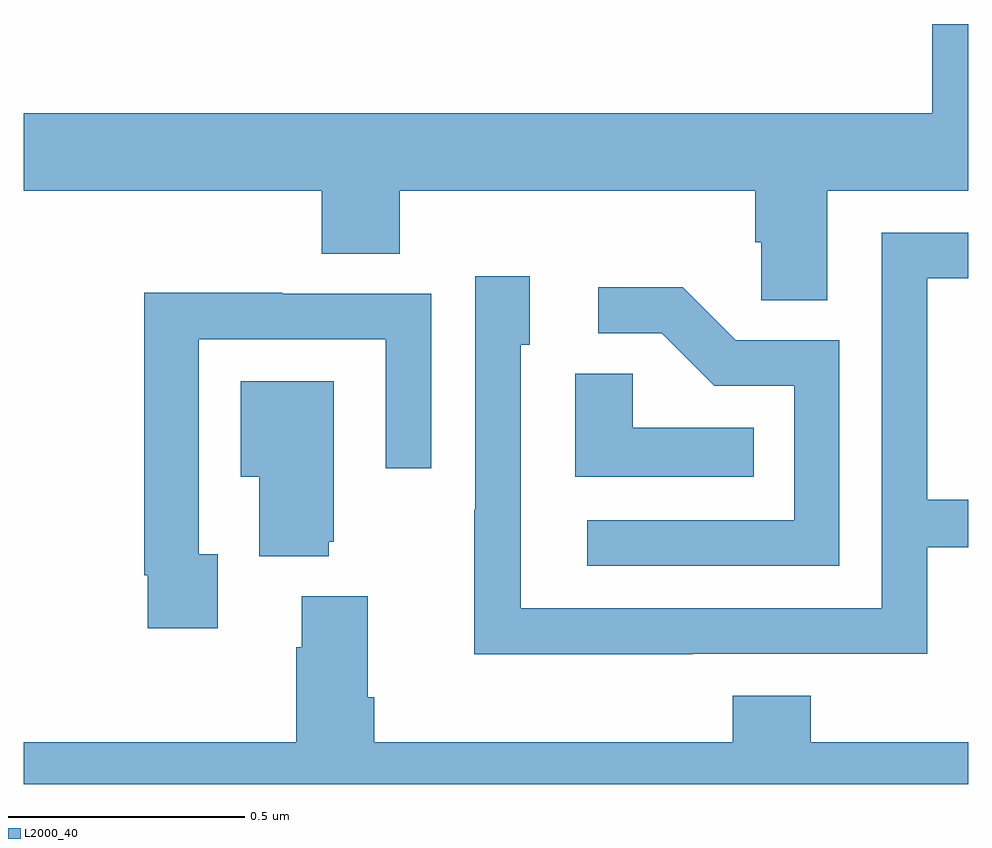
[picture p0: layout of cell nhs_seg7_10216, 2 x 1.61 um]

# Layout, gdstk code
import gdstk
lib = gdstk.Library(unit=1e-6, precision=1e-09)
def P(c, l, *ps):  # polygons
    for p in ps: c.add(gdstk.Polygon(p, *l))
L2000_40 = (2000, 40)

nhs_seg7_10216 = lib.new_cell('nhs_seg7_10216')
P(nhs_seg7_10216, L2000_40, [(247,1027.256),(247.631,1027.256),(247.631,1027.123),(247.796,1027.123),(247.796,1027.256),(248.549,1027.256),(248.549,1027.147),(248.562,1027.147),(248.562,1027.024),(248.701,1027.024),(248.701,1027.256),(249,1027.256),(249,1027.609),(248.924,1027.609),(248.924,1027.42),(247,1027.42)],
  [(248.417,1026.276),(248.913,1026.276),(248.913,1026.501),(249,1026.501),(249,1026.602),(248.913,1026.602),(248.913,1027.071),(249,1027.071),(249,1027.167),(248.817,1027.167),(248.817,1026.372),(248.052,1026.372),(248.052,1026.93),(248.071,1026.93),(248.071,1027.075),(247.956,1027.075),(247.956,1026.581),(247.954,1026.581),(247.954,1026.275),(248.417,1026.275)],
  [(248.727,1026.939),(248.508,1026.939),(248.395,1027.052),(248.217,1027.052),(248.217,1026.954),(248.351,1026.954),(248.462,1026.843),(248.631,1026.843),(248.631,1026.558),(248.193,1026.558),(248.193,1026.462),(248.727,1026.462)],
  [(247.411,1026.486),(247.371,1026.486),(247.371,1026.942),(247.767,1026.942),(247.767,1026.669),(247.863,1026.669),(247.863,1027.038),(247.547,1027.038),(247.547,1027.04),(247.255,1027.04),(247.255,1026.442),(247.263,1026.442),(247.263,1026.33),(247.411,1026.33)],
  [(248.546,1026.754),(248.289,1026.754),(248.289,1026.869),(248.168,1026.869),(248.168,1026.65),(248.546,1026.65)],
  [(247.646,1026.513),(247.657,1026.513),(247.657,1026.853),(247.46,1026.853),(247.46,1026.65),(247.499,1026.65),(247.499,1026.482),(247.646,1026.482)],
  [(249,1026.088),(248.666,1026.088),(248.666,1026.187),(248.501,1026.187),(248.501,1026.088),(247.742,1026.088),(247.742,1026.184),(247.729,1026.184),(247.729,1026.397),(247.589,1026.397),(247.589,1026.29),(247.577,1026.29),(247.577,1026.088),(247,1026.088),(247,1026),(249,1026)])

lib.write_gds('nhs_seg7_10216.gds')
